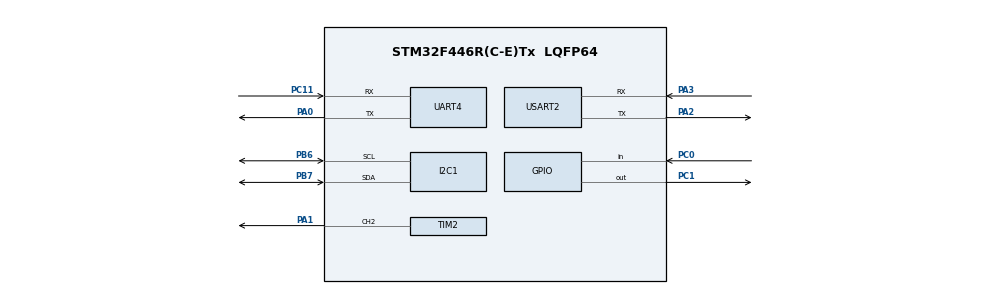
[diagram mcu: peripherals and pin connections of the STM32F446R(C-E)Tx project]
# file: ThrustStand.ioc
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Mcu.Family=STM32F4
Mcu.Name=STM32F446R(C-E)Tx
Mcu.Package=LQFP64
NVIC.PriorityGroup=NVIC_PRIORITYGROUP_4
NVIC.UART4_IRQn=true\:0\:0\:false\:false\:true\:true\:true\:true
NVIC.USART2_IRQn=true\:0\:0\:false\:false\:true\:true\:true\:true
PA0-WKUP.Mode=Asynchronous
PA0-WKUP.Signal=UART4_TX
PA1.Signal=S_TIM2_CH2
PA2.Mode=Asynchronous
PA2.Signal=USART2_TX
PA3.Mode=Asynchronous
PA3.Signal=USART2_RX
PB6.Mode=I2C
PB6.Signal=I2C1_SCL
PB7.Mode=I2C
PB7.Signal=I2C1_SDA
PC0.GPIO_PuPd=GPIO_PULLUP
PC0.Signal=GPIO_Input
PC1.GPIO_PuPd=GPIO_PULLUP
PC1.Signal=GPIO_Output
PC11.Mode=Asynchronous
PC11.Signal=UART4_RX
ProjectManager.HeapSize=0x200
ProjectManager.StackSize=0x400
ProjectManager.TargetToolchain=STM32CubeIDE
RCC.AHBFreq_Value=16000000
RCC.APB1Freq_Value=16000000
RCC.APB1TimFreq_Value=16000000
RCC.APB2Freq_Value=16000000
RCC.APB2TimFreq_Value=16000000
RCC.CortexFreq_Value=16000000
RCC.HCLKFreq_Value=16000000
RCC.USBFreq_Value=96000000
RCC.VCOOutputFreq_Value=192000000
SH.S_TIM2_CH2.0=TIM2_CH2,PWM Generation2 CH2
TIM2.Channel-PWM\ Generation2\ CH2=TIM_CHANNEL_2
TIM2.Period=19999
TIM2.Prescaler=15
UART4.VirtualMode=Asynchronous
USART2.VirtualMode=VM_ASYNC
board=custom

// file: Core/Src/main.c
/* USER CODE BEGIN Header */
/**
  ******************************************************************************
  * @file           : main.c
  * @brief          : Main program body
  ******************************************************************************
  * @attention
  *
  * Copyright (c) 2026 STMicroelectronics.
  * All rights reserved.
  *
  * This software is licensed under terms that can be found in the LICENSE file
  * in the root directory of this software component.
  * If no LICENSE file comes with this software, it is provided AS-IS.
  *
  ******************************************************************************
  */
/* USER CODE END Header */
#include "main.h"

/* USER CODE BEGIN Includes */

#include <stdint.h>
#include <stdbool.h>
#include <string.h>
#include <stdio.h>
/* USER CODE END Includes */

I2C_HandleTypeDef hi2c1;

TIM_HandleTypeDef htim2;

UART_HandleTypeDef huart4;
UART_HandleTypeDef huart2;

/* USER CODE BEGIN PV */

#define KISS_FRAME_SIZE 10
#define SERLCD_WRITE_ADDR (0x72 << 1)

typedef struct
{
    int8_t temperature_c;
    uint16_t voltage_raw;       // Units: 0.01 V
    uint16_t current_raw;       // Units: 0.01 A
    uint16_t consumption_mah;   // Units: mAh
    uint16_t rpm_raw;           // Protocol units: 100 RPM
} KISS_Telemetry_t;

volatile int32_t hx711_raw = 0;
extern volatile KISS_Telemetry_t kiss_telemetry;
extern volatile uint8_t kiss_new_data;
extern UART_HandleTypeDef huart2;
uint32_t last_lcd_update = 0;
const uint32_t lcd_interval = 100; // 500 ms delay

void KISS_Telemetry_Start(void);

TIM_HandleTypeDef htim2;

UART_HandleTypeDef huart4;
UART_HandleTypeDef huart2;

void SystemClock_Config(void);
static void MX_GPIO_Init(void);
static void MX_TIM2_Init(void);
static void MX_UART4_Init(void);
static void MX_USART2_UART_Init(void);
void UART_Print(const char *message);
/* USER CODE END PV */

void SystemClock_Config(void);
static void MX_GPIO_Init(void);
static void MX_TIM2_Init(void);
static void MX_UART4_Init(void);
static void MX_USART2_UART_Init(void);
static void MX_I2C1_Init(void);

/* USER CODE BEGIN 0 */
void writeLCDText(char *text);
void update_lcd_task(void);
void UART_PrintTelemetry(uint8_t throttle_pct, uint32_t hx711_raw)
{
    char msg[128];

    snprintf(msg, sizeof(msg),
        "DATA,%u,%u,%u,%u,%u,%d,%ld\r\n",
        (unsigned int)throttle_pct,
        (unsigned int)kiss_telemetry.rpm_raw,
        (unsigned int)kiss_telemetry.current_raw,
        (unsigned int)kiss_telemetry.voltage_raw,
        (unsigned int)kiss_telemetry.consumption_mah,
        (int)kiss_telemetry.temperature_c,
    	(long)hx711_raw);

    UART_Print(msg);
}
static uint8_t kiss_rx_byte;
static uint8_t kiss_frame[KISS_FRAME_SIZE];
static uint8_t kiss_frame_count = 0;

//volatile uint32_t last_cmd_ms = 0;
volatile KISS_Telemetry_t kiss_telemetry = {0};
volatile uint8_t kiss_new_data = 0;

void RCPWM_Throttle(uint8_t throttle)
{
	if (throttle > 100)
		throttle = 100;

	uint16_t pulse_us = 1000 + (throttle * 10);

	__HAL_TIM_SET_COMPARE(&htim2, TIM_CHANNEL_2, pulse_us);
}

void MultiShot_Throttle(uint8_t throttle)
{

    uint16_t pulse_us = 5 + (throttle * 20) / 100;

    __HAL_TIM_SET_COMPARE(&htim2, TIM_CHANNEL_2, pulse_us);
}
void KISS_Telemetry_Start(void)
{
    kiss_frame_count = 0;
    kiss_new_data = 0;

    HAL_UART_Receive_IT(&huart4, &kiss_rx_byte, 1);
}
static void KISS_DecodeFrame(const uint8_t *frame)
{
    kiss_telemetry.temperature_c = (int8_t)frame[0];

    kiss_telemetry.voltage_raw =
        ((uint16_t)frame[1] << 8) | frame[2];

    kiss_telemetry.current_raw =
        ((uint16_t)frame[3] << 8) | frame[4];

    kiss_telemetry.consumption_mah =
        ((uint16_t)frame[5] << 8) | frame[6];

    kiss_telemetry.rpm_raw =
        ((uint16_t)frame[7] << 8) | frame[8];

    kiss_new_data = 1;
}
volatile uint32_t uart_rx_count = 0;
volatile uint32_t uart_error_code = 0;
volatile uint32_t uart_rearm_errors = 0;

static uint8_t cmd_rx_byte;
static char cmd_buf[24];
static uint8_t cmd_len = 0;
volatile uint8_t target_throttle = 0;

static const uint8_t kiss_crc_table[256] = {
    0x00, 0x07, 0x0E, 0x09, 0x1C, 0x1B, 0x12, 0x15,
    0x38, 0x3F, 0x36, 0x31, 0x24, 0x23, 0x2A, 0x2D,
    0x70, 0x77, 0x7E, 0x79, 0x6C, 0x6B, 0x62, 0x65,
    0x48, 0x4F, 0x46, 0x41, 0x54, 0x53, 0x5A, 0x5D,
    0xE0, 0xE7, 0xEE, 0xE9, 0xFC, 0xFB, 0xF2, 0xF5,
    0xD8, 0xDF, 0xD6, 0xD1, 0xC4, 0xC3, 0xCA, 0xCD,
    0x90, 0x97, 0x9E, 0x99, 0x8C, 0x8B, 0x82, 0x85,
    0xA8, 0xAF, 0xA6, 0xA1, 0xB4, 0xB3, 0xBA, 0xBD,
    0xC7, 0xC0, 0xC9, 0xCE, 0xDB, 0xDC, 0xD5, 0xD2,
    0xFF, 0xF8, 0xF1, 0xF6, 0xE3, 0xE4, 0xED, 0xEA,
    0xB7, 0xB0, 0xB9, 0xBE, 0xAB, 0xAC, 0xA5, 0xA2,
    0x8F, 0x88, 0x81, 0x86, 0x93, 0x94, 0x9D, 0x9A,
    0x27, 0x20, 0x29, 0x2E, 0x3B, 0x3C, 0x35, 0x32,
    0x1F, 0x18, 0x11, 0x16, 0x03, 0x04, 0x0D, 0x0A,
    0x57, 0x50, 0x59, 0x5E, 0x4B, 0x4C, 0x45, 0x42,
    0x6F, 0x68, 0x61, 0x66, 0x73, 0x74, 0x7D, 0x7A,
    0x89, 0x8E, 0x87, 0x80, 0x95, 0x92, 0x9B, 0x9C,
    0xB1, 0xB6, 0xBF, 0xB8, 0xAD, 0xAA, 0xA3, 0xA4,
    0xF9, 0xFE, 0xF7, 0xF0, 0xE5, 0xE2, 0xEB, 0xEC,
    0xC1, 0xC6, 0xCF, 0xC8, 0xDD, 0xDA, 0xD3, 0xD4,
    0x69, 0x6E, 0x67, 0x60, 0x75, 0x72, 0x7B, 0x7C,
    0x51, 0x56, 0x5F, 0x58, 0x4D, 0x4A, 0x43, 0x44,
    0x19, 0x1E, 0x17, 0x10, 0x05, 0x02, 0x0B, 0x0C,
    0x21, 0x26, 0x2F, 0x28, 0x3D, 0x3A, 0x33, 0x34,
    0x4E, 0x49, 0x40, 0x47, 0x52, 0x55, 0x5C, 0x5B,
    0x76, 0x71, 0x78, 0x7F, 0x6A, 0x6D, 0x64, 0x63,
    0x3E, 0x39, 0x30, 0x37, 0x22, 0x25, 0x2C, 0x2B,
    0x06, 0x01, 0x08, 0x0F, 0x1A, 0x1D, 0x14, 0x13,
    0xAE, 0xA9, 0xA0, 0xA7, 0xB2, 0xB5, 0xBC, 0xBB,
    0x96, 0x91, 0x98, 0x9F, 0x8A, 0x8D, 0x84, 0x83,
    0xDE, 0xD9, 0xD0, 0xD7, 0xC2, 0xC5, 0xCC, 0xCB,
    0xE6, 0xE1, 0xE8, 0xEF, 0xFA, 0xFD, 0xF4, 0xF3,
};

static uint8_t KISS_CRC8(const uint8_t *buf, uint8_t len)
{
    uint8_t crc = 0;
    while (len--)
        crc = kiss_crc_table[crc ^ *buf++];
    return crc;
}

void HAL_UART_RxCpltCallback(UART_HandleTypeDef *huart)
{
    if (huart->Instance == USART2)
    {
        char c = (char)cmd_rx_byte;

        if (c == '\n' || c == '\r')
        {
            cmd_buf[cmd_len] = 0;

            if (strncmp(cmd_buf, "THROTTLE,", 9) == 0)
            {
                const char *p = cmd_buf + 9;
                uint32_t v = 0;
                uint8_t ok = (*p != 0);

                while (*p)
                {
                    if (*p < '0' || *p > '9') { ok = 0; break; }
                    v = v * 10 + (uint32_t)(*p - '0');
                    if (v > 1000) { ok = 0; break; }
                    p++;
                }
                if (ok)
                    target_throttle = (v > 100) ? 100 : (uint8_t)v;
//                	last_cmd_ms = HAL_GetTick();
            }
            cmd_len = 0;
        }
        else if (cmd_len < sizeof(cmd_buf) - 1)
        {
            cmd_buf[cmd_len++] = c;
        }
        else
        {
            cmd_len = 0;   // line too long, discard
        }

        HAL_UART_Receive_IT(&huart2, &cmd_rx_byte, 1);
        return;
    }
    if (huart->Instance != UART4)
        return;

    uart_rx_count++;
//    char msg[40];
//    sprintf(msg, "RX: 0x%02X\r\n",
//            (unsigned int)kiss_rx_byte);
//	UART_Print(msg);
//    UART_Print(""); //DO NOT REMOVE MAGIC CODE

	if (kiss_frame_count < KISS_FRAME_SIZE)
	{
		kiss_frame[kiss_frame_count++] = kiss_rx_byte;
	}
	else
	{
		for (uint8_t i = 0; i < KISS_FRAME_SIZE - 1; i++)
		{
			kiss_frame[i] = kiss_frame[i + 1];
		}

		kiss_frame[KISS_FRAME_SIZE - 1] = kiss_rx_byte;
	}
	if (kiss_frame_count == KISS_FRAME_SIZE &&
	    KISS_CRC8(kiss_frame, KISS_FRAME_SIZE - 1) == kiss_frame[KISS_FRAME_SIZE - 1])
	{
		KISS_DecodeFrame(kiss_frame);
		kiss_frame_count = 0;   // frame consumed, collect 10 fresh bytes
	}

	if (HAL_UART_Receive_IT(&huart4, &kiss_rx_byte, 1) != HAL_OK)
	        uart_rearm_errors++;
}

void HAL_UART_ErrorCallback(UART_HandleTypeDef *huart)
{
    if (huart->Instance == UART4)
    {
        uart_error_code = huart->ErrorCode;
        HAL_UART_Receive_IT(&huart4, &kiss_rx_byte, 1);   // restart RX after an error
    }
    if (huart->Instance == USART2)
    {
        HAL_UART_Receive_IT(&huart2, &cmd_rx_byte, 1);
        return;
    }
}

void UART_Print(const char *message)
{
    HAL_UART_Transmit(&huart2,
                      (uint8_t *)message,
                      strlen(message),
                      HAL_MAX_DELAY);
}

///////////////////STRAIN GAUGE
bool HX711_Read(volatile int32_t *value)
{
    // Waits for conversion
    if (HAL_GPIO_ReadPin(GPIOC, GPIO_PIN_0) == GPIO_PIN_SET)
        return false;

    uint32_t data = 0;

    // Read 24 bits, MSB first
    for (int i = 0; i < 24; i++)
    {
        HAL_GPIO_WritePin(GPIOC, GPIO_PIN_1, GPIO_PIN_SET);

        data <<= 1;

        if (HAL_GPIO_ReadPin(GPIOC, GPIO_PIN_0) == GPIO_PIN_SET)
            data |= 1;

        HAL_GPIO_WritePin(GPIOC, GPIO_PIN_1, GPIO_PIN_RESET);
    }

    // 25th pulse: Channel A, gain 128
    HAL_GPIO_WritePin(GPIOC, GPIO_PIN_1, GPIO_PIN_SET);
    HAL_GPIO_WritePin(GPIOC, GPIO_PIN_1, GPIO_PIN_RESET);

    // Sign-extend the 24-bit two's complement value
    if (data & 0x800000)
        data |= 0xFF000000;

    *value = (int32_t)data;

    return true;
}

/* USER CODE END 0 */

int main(void)
{

  /* MCU Configuration--------------------------------------------------------*/

  /* Reset of all peripherals, Initializes the Flash interface and the Systick. */
  HAL_Init();

  /* Configure the system clock */
  SystemClock_Config();

  /* Initialize all configured peripherals */
  MX_GPIO_Init();
  MX_TIM2_Init();
  MX_UART4_Init();
  MX_USART2_UART_Init();
  MX_I2C1_Init();
  /* USER CODE BEGIN 2 */
  //UART_Print("STM32 USART2 is working!\r\n");

  HAL_TIM_PWM_Start(&htim2, TIM_CHANNEL_2);
  RCPWM_Throttle(0);
  HAL_Delay(5000);
  KISS_Telemetry_Start();
  HAL_UART_Receive_IT(&huart2, &cmd_rx_byte, 1);
  /* USER CODE END 2 */

  /* Infinite loop */
  /* USER CODE BEGIN WHILE */
  while (1)
  {
//      if ((HAL_GetTick() - last_cmd_ms) > 1000)
//          target_throttle = 0;

	  if (HX711_Read(&hx711_raw)|| kiss_new_data)
	  {
	      kiss_new_data = 0;

	      UART_PrintTelemetry(target_throttle, hx711_raw);
	  }
      RCPWM_Throttle(target_throttle);
      update_lcd_task();

    /* USER CODE END WHILE */

  }
}

void SystemClock_Config(void)
{
  RCC_OscInitTypeDef RCC_OscInitStruct = {0};
  RCC_ClkInitTypeDef RCC_ClkInitStruct = {0};

  /** Configure the main internal regulator output voltage
  */
  __HAL_RCC_PWR_CLK_ENABLE();
  __HAL_PWR_VOLTAGESCALING_CONFIG(PWR_REGULATOR_VOLTAGE_SCALE3);

  /** Initializes the RCC Oscillators according to the specified parameters
  * in the RCC_OscInitTypeDef structure.
  */
  RCC_OscInitStruct.OscillatorType = RCC_OSCILLATORTYPE_HSI;
  RCC_OscInitStruct.HSIState = RCC_HSI_ON;
  RCC_OscInitStruct.HSICalibrationValue = RCC_HSICALIBRATION_DEFAULT;
  RCC_OscInitStruct.PLL.PLLState = RCC_PLL_NONE;
  if (HAL_RCC_OscConfig(&RCC_OscInitStruct) != HAL_OK)
  {
    Error_Handler();
  }

  /** Initializes the CPU, AHB and APB buses clocks
  */
  RCC_ClkInitStruct.ClockType = RCC_CLOCKTYPE_HCLK|RCC_CLOCKTYPE_SYSCLK
                              |RCC_CLOCKTYPE_PCLK1|RCC_CLOCKTYPE_PCLK2;
  RCC_ClkInitStruct.SYSCLKSource = RCC_SYSCLKSOURCE_HSI;
  RCC_ClkInitStruct.AHBCLKDivider = RCC_SYSCLK_DIV1;
  RCC_ClkInitStruct.APB1CLKDivider = RCC_HCLK_DIV1;
  RCC_ClkInitStruct.APB2CLKDivider = RCC_HCLK_DIV1;

  if (HAL_RCC_ClockConfig(&RCC_ClkInitStruct, FLASH_LATENCY_0) != HAL_OK)
  {
    Error_Handler();
  }
}

static void MX_I2C1_Init(void)
{

  hi2c1.Instance = I2C1;
  hi2c1.Init.ClockSpeed = 100000;
  hi2c1.Init.DutyCycle = I2C_DUTYCYCLE_2;
  hi2c1.Init.OwnAddress1 = 0;
  hi2c1.Init.AddressingMode = I2C_ADDRESSINGMODE_7BIT;
  hi2c1.Init.DualAddressMode = I2C_DUALADDRESS_DISABLE;
  hi2c1.Init.OwnAddress2 = 0;
  hi2c1.Init.GeneralCallMode = I2C_GENERALCALL_DISABLE;
  hi2c1.Init.NoStretchMode = I2C_NOSTRETCH_DISABLE;
  if (HAL_I2C_Init(&hi2c1) != HAL_OK)
  {
    Error_Handler();
  }

}

static void MX_TIM2_Init(void)
{

  TIM_MasterConfigTypeDef sMasterConfig = {0};
  TIM_OC_InitTypeDef sConfigOC = {0};

  htim2.Instance = TIM2;
  htim2.Init.Prescaler = 15;
  htim2.Init.CounterMode = TIM_COUNTERMODE_UP;
  htim2.Init.Period = 19999;
  htim2.Init.ClockDivision = TIM_CLOCKDIVISION_DIV1;
  htim2.Init.AutoReloadPreload = TIM_AUTORELOAD_PRELOAD_DISABLE;
  if (HAL_TIM_PWM_Init(&htim2) != HAL_OK)
  {
    Error_Handler();
  }
  sMasterConfig.MasterOutputTrigger = TIM_TRGO_RESET;
  sMasterConfig.MasterSlaveMode = TIM_MASTERSLAVEMODE_DISABLE;
  if (HAL_TIMEx_MasterConfigSynchronization(&htim2, &sMasterConfig) != HAL_OK)
  {
    Error_Handler();
  }
  sConfigOC.OCMode = TIM_OCMODE_PWM1;
  sConfigOC.Pulse = 0;
  sConfigOC.OCPolarity = TIM_OCPOLARITY_HIGH;
  sConfigOC.OCFastMode = TIM_OCFAST_DISABLE;
  if (HAL_TIM_PWM_ConfigChannel(&htim2, &sConfigOC, TIM_CHANNEL_2) != HAL_OK)
  {
    Error_Handler();
  }
  HAL_TIM_MspPostInit(&htim2);

}

static void MX_UART4_Init(void)
{

  huart4.Instance = UART4;
  huart4.Init.BaudRate = 115200;
  huart4.Init.WordLength = UART_WORDLENGTH_8B;
  huart4.Init.StopBits = UART_STOPBITS_1;
  huart4.Init.Parity = UART_PARITY_NONE;
  huart4.Init.Mode = UART_MODE_TX_RX;
  huart4.Init.HwFlowCtl = UART_HWCONTROL_NONE;
  huart4.Init.OverSampling = UART_OVERSAMPLING_16;
  if (HAL_UART_Init(&huart4) != HAL_OK)
  {
    Error_Handler();
  }

}

static void MX_USART2_UART_Init(void)
{

  huart2.Instance = USART2;
  huart2.Init.BaudRate = 115200;
  huart2.Init.WordLength = UART_WORDLENGTH_8B;
  huart2.Init.StopBits = UART_STOPBITS_1;
  huart2.Init.Parity = UART_PARITY_NONE;
  huart2.Init.Mode = UART_MODE_TX_RX;
  huart2.Init.HwFlowCtl = UART_HWCONTROL_NONE;
  huart2.Init.OverSampling = UART_OVERSAMPLING_16;
  if (HAL_UART_Init(&huart2) != HAL_OK)
  {
    Error_Handler();
  }

}

static void MX_GPIO_Init(void)
{
  GPIO_InitTypeDef GPIO_InitStruct = {0};

  /* GPIO Ports Clock Enable */
  __HAL_RCC_GPIOC_CLK_ENABLE();
  __HAL_RCC_GPIOA_CLK_ENABLE();
  __HAL_RCC_GPIOB_CLK_ENABLE();

  /*Configure GPIO pin Output Level */
  HAL_GPIO_WritePin(GPIOC, GPIO_PIN_1, GPIO_PIN_RESET);

  /*Configure GPIO pin : PC0 */
  GPIO_InitStruct.Pin = GPIO_PIN_0;
  GPIO_InitStruct.Mode = GPIO_MODE_INPUT;
  GPIO_InitStruct.Pull = GPIO_PULLUP;
  HAL_GPIO_Init(GPIOC, &GPIO_InitStruct);

  /*Configure GPIO pin : PC1 */
  GPIO_InitStruct.Pin = GPIO_PIN_1;
  GPIO_InitStruct.Mode = GPIO_MODE_OUTPUT_PP;
  GPIO_InitStruct.Pull = GPIO_PULLUP;
  GPIO_InitStruct.Speed = GPIO_SPEED_FREQ_LOW;
  HAL_GPIO_Init(GPIOC, &GPIO_InitStruct);

}

/* USER CODE BEGIN 4 */
void writeLCDText(char *text)
{
    uint8_t clear_cmd[] = {0xFE, 0x01};
    uint8_t home_cmd[]  = {0xFE, 0x80};

    HAL_I2C_Master_Transmit(&hi2c1, SERLCD_WRITE_ADDR, clear_cmd, 2, HAL_MAX_DELAY);
    HAL_Delay(1);

    HAL_I2C_Master_Transmit(&hi2c1, SERLCD_WRITE_ADDR, home_cmd, 2, HAL_MAX_DELAY);
    HAL_Delay(1);

    HAL_I2C_Master_Transmit(&hi2c1, SERLCD_WRITE_ADDR, text, strlen(text), HAL_MAX_DELAY
    );
}

void update_lcd_task(void) {
    if (HAL_GetTick() - last_lcd_update >= lcd_interval) {
        last_lcd_update = HAL_GetTick();

        char row1[17]; // 16 chars + null terminator
        char row2[17]; // 16 chars + null terminator
        char lcd_buffer[35]; // Combined buffer for both rows + newline

        // 1. Format Row 1 and get its exact length
        int len1 = snprintf(row1, sizeof(row1), "Throttle: %d", target_throttle);

        // Pad the rest of Row 1 with spaces up to 16 characters to clear ghosting
        for (int i = len1; i < 16; i++) {
            row1[i] = ' ';
        }
        row1[16] = '\0'; // Ensure null termination

        // 2. Format Row 2 and get its exact length
//        int len2 = snprintf(row2, sizeof(row2), "C:%dmA V:%dmV",
//                            kiss_telemetry.current_raw,
//                            kiss_telemetry.voltage_raw);
        int len2 = snprintf(row2, sizeof(row2), "V:%dmV",
                            kiss_telemetry.voltage_raw);
        // Pad the rest of Row 2 with spaces up to 16 characters
        for (int i = len2; i < 16; i++) {
            row2[i] = ' ';
        }
        row2[16] = '\0'; // Ensure null termination

        // 3. Combine both rows into the final LCD buffer separated by a newline
        snprintf(lcd_buffer, sizeof(lcd_buffer), "%s\n%s", row1, row2);

        writeLCDText(lcd_buffer);
    }
}

/* USER CODE END 4 */

void Error_Handler(void)
{
  __disable_irq();
  while (1)
  {
  }
}
